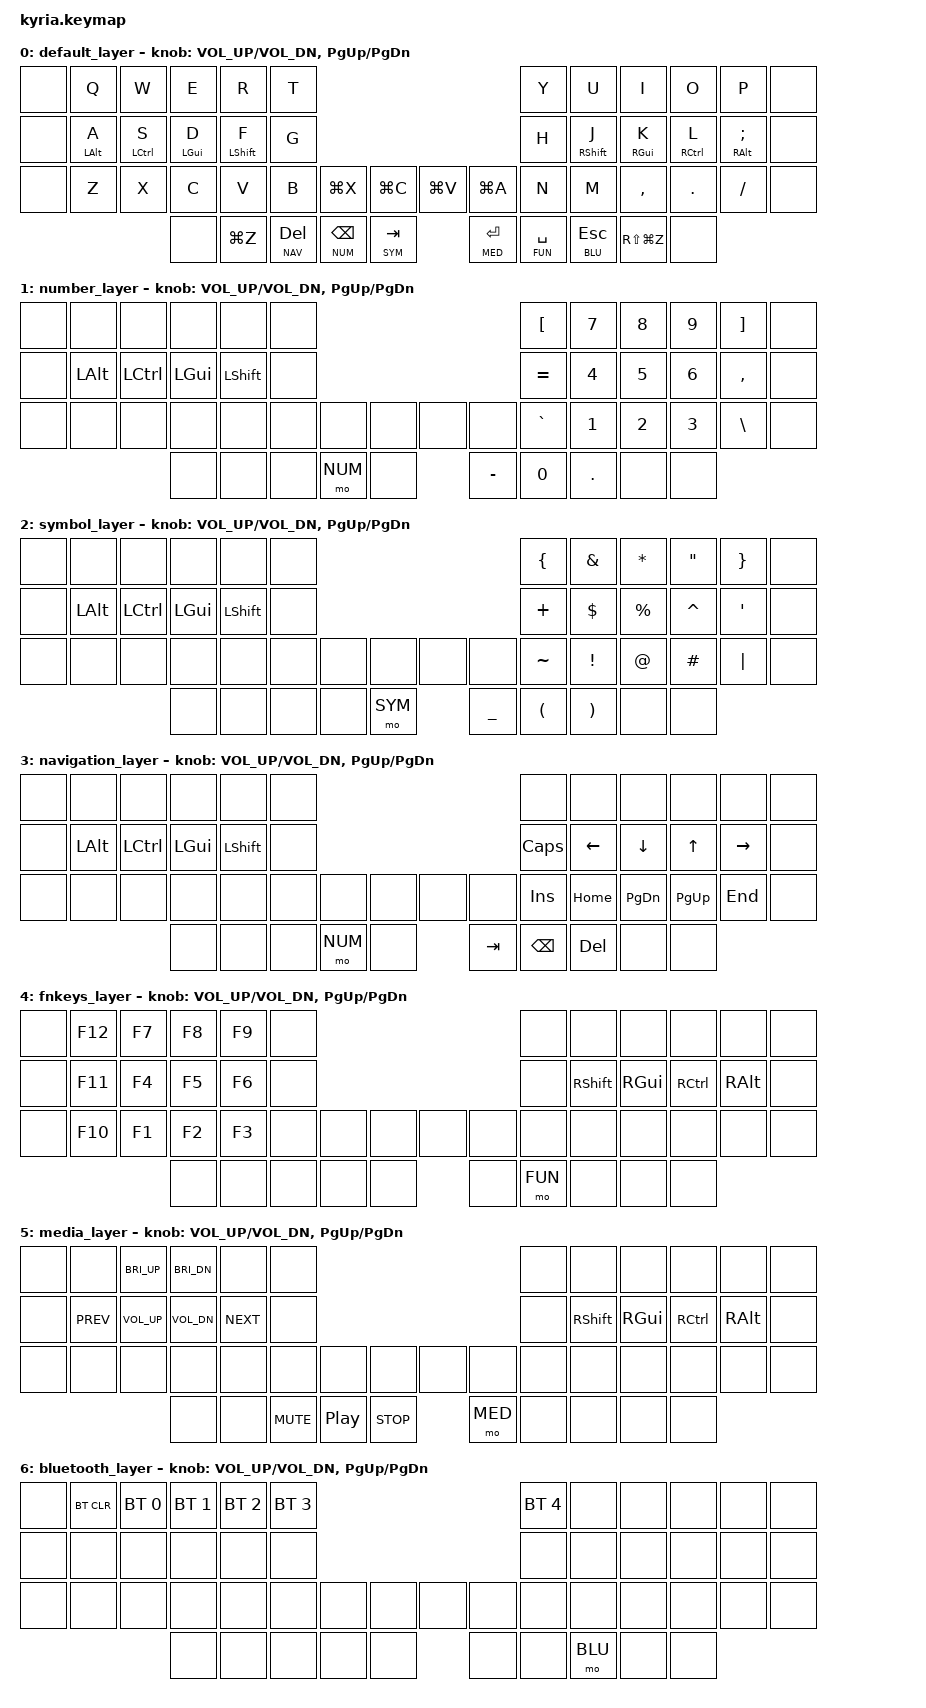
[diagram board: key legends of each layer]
/*
 * Copyright (c) 2020 Matt Gilbert (Mattir)
 *
 * SPDX-License-Identifier: MIT
 */

#include <behaviors.dtsi>
#include <dt-bindings/zmk/keys.h>
#include <dt-bindings/zmk/bt.h>

#define DEF 0
#define NUM 1
#define SYM 2
#define NAV 3
#define FUN 4
#define MED 5
#define BLU 6

#define NONE 0

&lt {
  quick_tap_ms = <10>;
};

/ {
  behaviors {
    hm: homerow_mods {
      compatible = "zmk,behavior-hold-tap";
      label = "HOMEROW_MODS";
      #binding-cells = <2>;
      tapping-term-ms = <150>;
      quick_tap_ms = <0>;
      flavor = "tap-preferred";
      bindings = <&kp>, <&kp>;
    };
  };

  keymap {
    compatible = "zmk,keymap";

    default_layer {
      bindings = <
        &none &kp Q      &kp W       &kp E      &kp R       &kp T                                                      &kp Y &kp U       &kp I      &kp O       &kp P         &none
        &none &hm LALT A &hm LCTRL S &hm LGUI D &hm LSHFT F &kp G                                                      &kp H &hm RSHFT J &hm RGUI K &hm RCTRL L &hm RALT SEMI &none
        &none &kp Z      &kp X       &kp C      &kp V       &kp B &kp LG(X)    &kp LG(C)         &kp LG(V)   &kp LG(A) &kp N &kp M       &kp COMMA  &kp DOT     &kp FSLH      &none
                                      &none &kp LG(Z) &lt NAV DEL &lt NUM BSPC &lt SYM TAB       &lt MED RET &lt FUN SPACE &lt BLU ESC &kp RS(LG(Z)) &none
      >;
      sensor-bindings = <&inc_dec_kp C_VOL_UP C_VOL_DN &inc_dec_kp PG_UP PG_DN>;
    };

    number_layer {
      bindings = <
        &none &none    &none     &none    &none     &none                                      &kp LBKT  &kp N7 &kp N8 &kp N9 &kp RBKT  &none
        &none &kp LALT &kp LCTRL &kp LGUI &kp LSHFT &none                                      &kp EQUAL &kp N4 &kp N5 &kp N6 &kp COMMA &none
        &none &none    &none     &none    &none     &none &none   &none       &none     &none  &kp GRAVE &kp N1 &kp N2 &kp N3 &kp BSLH  &none
                                        &none &none &none &mo NUM &none       &kp MINUS &kp N0 &kp DOT &none &none
      >;
      sensor-bindings = <&inc_dec_kp C_VOL_UP C_VOL_DN &inc_dec_kp PG_UP PG_DN>;
    };

    symbol_layer {
      bindings = <
        &none &none    &none     &none    &none     &none                                        &kp LBRC  &kp AMPS &kp ASTRK &kp DQT   &kp RBRC &none
        &none &kp LALT &kp LCTRL &kp LGUI &kp LSHFT &none                                        &kp PLUS  &kp DLLR &kp PRCNT &kp CARET &kp SQT  &none
        &none &none    &none     &none    &none     &none &none &none         &none     &none    &kp TILDE &kp EXCL &kp AT    &kp POUND &kp PIPE &none
                                        &none &none &none &none &mo SYM       &kp UNDER &kp LPAR &kp RPAR &none &none
      >;
      sensor-bindings = <&inc_dec_kp C_VOL_UP C_VOL_DN &inc_dec_kp PG_UP PG_DN>;
    };

    navigation_layer {
      bindings = <
        &none &none    &none     &none    &none     &none                                      &none    &none    &none     &none     &none     &none
        &none &kp LALT &kp LCTRL &kp LGUI &kp LSHFT &none                                      &kp CAPS &kp LEFT &kp DOWN  &kp UP    &kp RIGHT &none
        &none &none    &none     &none    &none     &none &none   &none       &none   &none    &kp INS  &kp HOME &kp PG_DN &kp PG_UP &kp END   &none
                                        &none &none &none &mo NUM &none       &kp TAB &kp BSPC &kp DEL &none &none
      >;
      sensor-bindings = <&inc_dec_kp C_VOL_UP C_VOL_DN &inc_dec_kp PG_UP PG_DN>;
    };

    fnkeys_layer {
      bindings = <
        &none &kp F12 &kp F7 &kp F8 &kp F9 &none                                 &none &none     &none    &none     &none    &none
        &none &kp F11 &kp F4 &kp F5 &kp F6 &none                                 &none &kp RSHFT &kp RGUI &kp RCTRL &kp RALT &none
        &none &kp F10 &kp F1 &kp F2 &kp F3 &none &none &none       &none &none   &none &none     &none    &none     &none    &none
                               &none &none &none &none &none       &none &mo FUN &none &none &none
      >;
      sensor-bindings = <&inc_dec_kp C_VOL_UP C_VOL_DN &inc_dec_kp PG_UP PG_DN>;
    };

    media_layer {
      bindings = <
        &none &none      &kp C_BRI_UP &kp C_BRI_DN &none      &none                                         &none &none     &none    &none     &none    &none
        &none &kp C_PREV &kp C_VOL_UP &kp C_VOL_DN &kp C_NEXT &none                                         &none &kp RSHFT &kp RGUI &kp RCTRL &kp RALT &none
        &none &none      &none        &none        &none      &none &none    &none            &none   &none &none &none     &none    &none     &none    &none
                                             &none &none &kp K_MUTE &kp C_PP &kp C_STOP       &mo MED &none &none &none &none
      >;
      sensor-bindings = <&inc_dec_kp C_VOL_UP C_VOL_DN &inc_dec_kp PG_UP PG_DN>;
    };

    bluetooth_layer {
      bindings = <
        &none   &bt BT_CLR &bt BT_SEL 0 &bt BT_SEL 1 &bt BT_SEL 2 &bt BT_SEL 3                                &bt BT_SEL 4 &none &none &none &none &none
        &none   &none      &none        &none        &none        &none                                       &none        &none &none &none &none &none
        &none   &none      &none        &none        &none        &none        &none &none        &none &none &none        &none &none &none &none &none
                                                             &none &none &none &none &none        &none &none &mo BLU &none &none
      >;
      sensor-bindings = <&inc_dec_kp C_VOL_UP C_VOL_DN &inc_dec_kp PG_UP PG_DN>;
    };
  };
};
